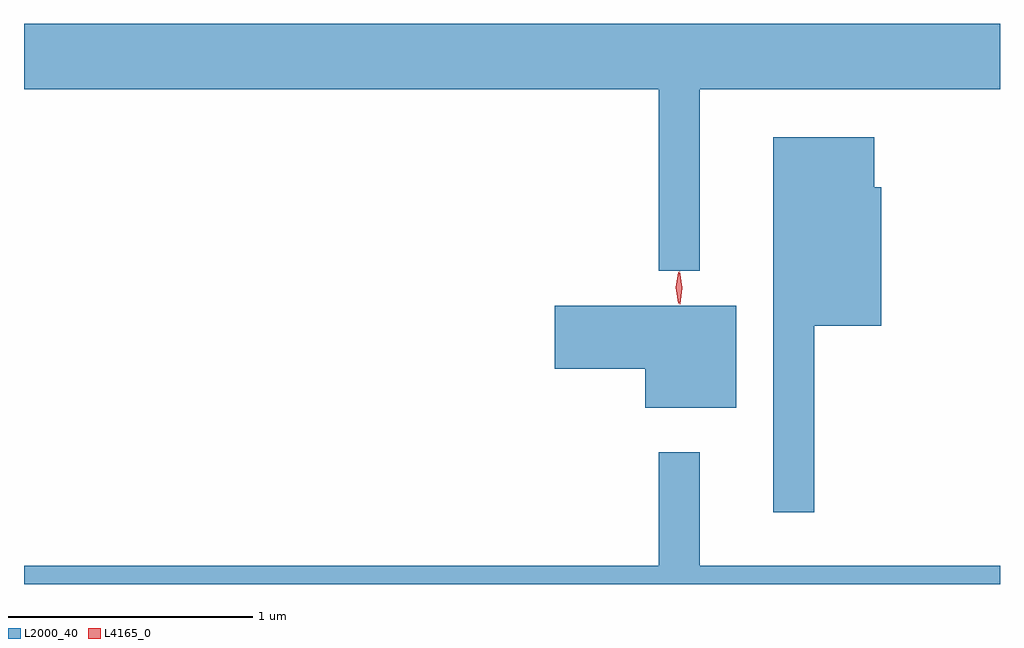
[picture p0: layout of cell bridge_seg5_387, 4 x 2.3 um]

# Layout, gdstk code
import gdstk
lib = gdstk.Library(unit=1e-6, precision=1e-09)
def P(c, l, *ps):  # polygons
    for p in ps: c.add(gdstk.Polygon(p, *l))
L2000_40 = (2000, 40)
L4165_0 = (4165, 0)

bridge_seg5_387 = lib.new_cell('bridge_seg5_387')
P(bridge_seg5_387, L2000_40, [(423.089,1496.756),(424.32,1496.756),(424.32,1497.024),(420.32,1497.024),(420.32,1496.756),(422.921,1496.756),(422.921,1496.013),(423.089,1496.013)],
  [(423.559,1495.786),(423.834,1495.786),(423.834,1496.354),(423.804,1496.354),(423.804,1496.559),(423.391,1496.559),(423.391,1495.023),(423.559,1495.023)],
  [(423.239,1495.869),(422.496,1495.869),(422.496,1495.611),(422.866,1495.611),(422.866,1495.451),(423.239,1495.451)],
  [(424.32,1494.804),(423.089,1494.804),(423.089,1495.268),(422.921,1495.268),(422.921,1494.804),(420.32,1494.804),(420.32,1494.728),(424.32,1494.728)])
P(bridge_seg5_387, L4165_0, [(423.008,1495.874),(423.008,1495.874),(422.998,1495.942),(423.007,1496.01),(423.008,1496.01),(423.008,1496.01),(423.018,1495.942),(423.009,1495.874)],
  [(423.002,1495.88),(423.002,1495.88),(422.992,1495.944),(423.002,1496.006),(423.002,1496.007),(423.003,1496.006),(423.012,1495.944),(423.003,1495.88)])

lib.write_gds('bridge_seg5_387.gds')
